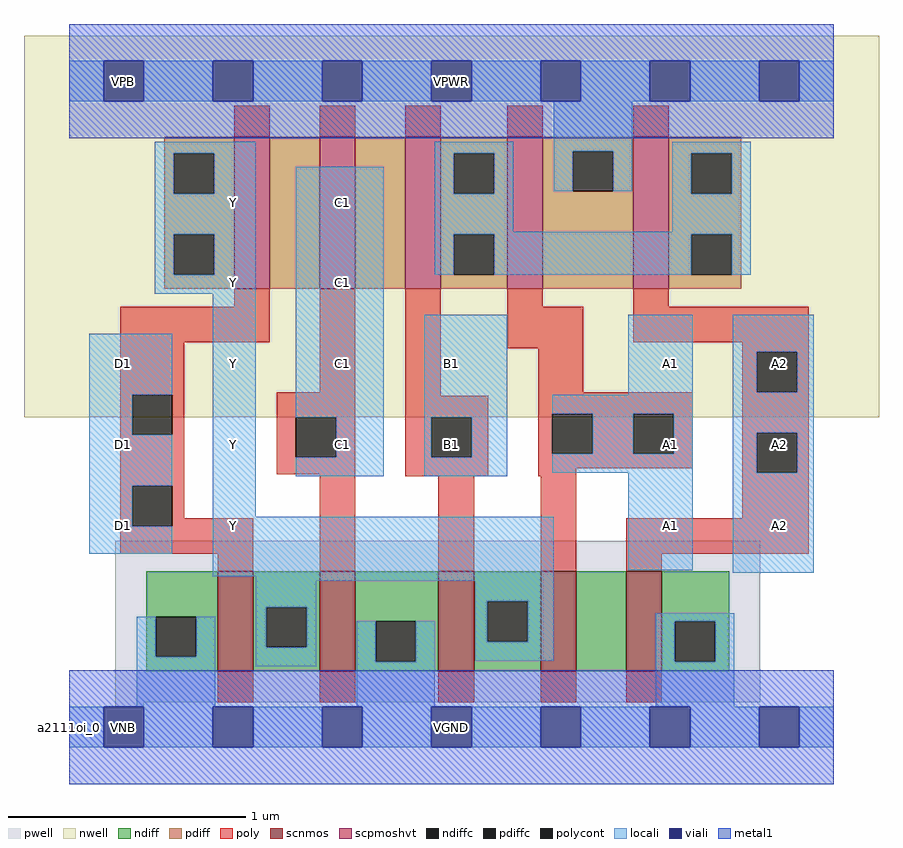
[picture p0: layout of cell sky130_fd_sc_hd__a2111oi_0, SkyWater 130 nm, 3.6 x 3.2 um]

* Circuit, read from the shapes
.subckt sky130_fd_sc_hd__a2111oi_0 A1 A2 B1 C1 D1 VGND VNB VPB VPWR Y
XM1 Y D1 VGND VNB sky130_fd_pr__nfet_01v8 w=0.42 l=0.15
XM2 VGND C1 Y VNB sky130_fd_pr__nfet_01v8 w=0.42 l=0.15
XM3 Y B1 VGND VNB sky130_fd_pr__nfet_01v8 w=0.42 l=0.15
XM4 n1 A1 Y VNB sky130_fd_pr__nfet_01v8 w=0.42 l=0.15
XM5 VGND A2 n1 VNB sky130_fd_pr__nfet_01v8 w=0.42 l=0.15
XM6 n2 D1 Y VPB sky130_fd_pr__pfet_01v8_hvt w=0.64 l=0.15
XM7 n3 C1 n2 VPB sky130_fd_pr__pfet_01v8_hvt w=0.64 l=0.15
XM8 n4 B1 n3 VPB sky130_fd_pr__pfet_01v8_hvt w=0.64 l=0.15
XM9 VPWR A1 n4 VPB sky130_fd_pr__pfet_01v8_hvt w=0.64 l=0.15
XM10 n4 A2 VPWR VPB sky130_fd_pr__pfet_01v8_hvt w=0.64 l=0.15
.ends

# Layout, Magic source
magic
tech sky130A
magscale 1 2
<< nwell >>
rect -38 261 682 582
<< pwell >>
rect 39 21 582 157
rect 39 17 63 21
rect 29 -17 63 17
<< scnmos >>
rect 125 47 155 131
rect 211 47 241 131
rect 311 47 341 131
rect 397 47 427 131
rect 469 47 499 131
<< scpmoshvt >>
rect 139 369 169 497
rect 211 369 241 497
rect 283 369 313 497
rect 369 369 399 497
rect 475 369 505 497
<< ndiff >>
rect 65 93 125 131
rect 65 59 73 93
rect 107 59 125 93
rect 65 47 125 59
rect 155 101 211 131
rect 155 67 166 101
rect 200 67 211 101
rect 155 47 211 67
rect 241 89 311 131
rect 241 55 258 89
rect 292 55 311 89
rect 241 47 311 55
rect 341 106 397 131
rect 341 72 352 106
rect 386 72 397 106
rect 341 47 397 72
rect 427 47 469 131
rect 499 89 556 131
rect 499 55 510 89
rect 544 55 556 89
rect 499 47 556 55
<< pdiff >>
rect 80 483 139 497
rect 80 449 88 483
rect 122 449 139 483
rect 80 415 139 449
rect 80 381 88 415
rect 122 381 139 415
rect 80 369 139 381
rect 169 369 211 497
rect 241 369 283 497
rect 313 483 369 497
rect 313 449 324 483
rect 358 449 369 483
rect 313 415 369 449
rect 313 381 324 415
rect 358 381 369 415
rect 313 369 369 381
rect 399 485 475 497
rect 399 451 424 485
rect 458 451 475 485
rect 399 369 475 451
rect 505 483 566 497
rect 505 449 524 483
rect 558 449 566 483
rect 505 415 566 449
rect 505 381 524 415
rect 558 381 566 415
rect 505 369 566 381
<< ndiffc >>
rect 73 59 107 93
rect 166 67 200 101
rect 258 55 292 89
rect 352 72 386 106
rect 510 55 544 89
<< pdiffc >>
rect 88 449 122 483
rect 88 381 122 415
rect 324 449 358 483
rect 324 381 358 415
rect 424 451 458 485
rect 524 449 558 483
rect 524 381 558 415
<< poly >>
rect 139 497 169 523
rect 211 497 241 523
rect 283 497 313 523
rect 369 497 399 523
rect 475 497 505 523
rect 139 354 169 369
rect 43 324 169 354
rect 43 280 97 324
rect 211 282 241 369
rect 43 246 53 280
rect 87 246 97 280
rect 43 203 97 246
rect 175 261 241 282
rect 175 227 191 261
rect 225 227 241 261
rect 175 213 241 227
rect 43 169 53 203
rect 87 176 97 203
rect 87 169 155 176
rect 43 146 155 169
rect 125 131 155 146
rect 211 131 241 213
rect 283 279 313 369
rect 369 354 399 369
rect 475 354 505 369
rect 369 319 433 354
rect 475 324 623 354
rect 395 282 433 319
rect 567 316 623 324
rect 567 282 579 316
rect 613 282 623 316
rect 283 261 353 279
rect 283 227 305 261
rect 339 227 353 261
rect 283 211 353 227
rect 395 264 525 282
rect 395 230 407 264
rect 441 230 475 264
rect 509 230 525 264
rect 395 218 525 230
rect 567 248 623 282
rect 395 211 427 218
rect 311 131 341 211
rect 397 131 427 211
rect 567 214 579 248
rect 613 214 623 248
rect 567 176 623 214
rect 469 146 623 176
rect 469 131 499 146
rect 125 21 155 47
rect 211 21 241 47
rect 311 21 341 47
rect 397 21 427 47
rect 469 21 499 47
<< polycont >>
rect 53 246 87 280
rect 191 227 225 261
rect 53 169 87 203
rect 579 282 613 316
rect 305 227 339 261
rect 407 230 441 264
rect 475 230 509 264
rect 579 214 613 248
<< locali >>
rect 0 527 29 561
rect 63 527 121 561
rect 155 527 213 561
rect 247 527 305 561
rect 339 527 397 561
rect 431 527 489 561
rect 523 527 581 561
rect 615 527 644 561
rect 72 483 157 493
rect 72 449 88 483
rect 122 449 157 483
rect 308 483 374 493
rect 72 415 157 449
rect 72 381 88 415
rect 122 381 157 415
rect 72 365 157 381
rect 17 280 87 331
rect 17 246 53 280
rect 17 203 87 246
rect 17 169 53 203
rect 17 146 87 169
rect 121 177 157 365
rect 191 261 265 472
rect 308 449 324 483
rect 358 449 374 483
rect 408 485 474 527
rect 408 451 424 485
rect 458 451 474 485
rect 508 483 574 493
rect 308 417 374 449
rect 508 449 524 483
rect 558 449 574 483
rect 508 417 574 449
rect 308 415 574 417
rect 308 381 324 415
rect 358 381 524 415
rect 558 381 574 415
rect 225 227 265 261
rect 191 211 265 227
rect 299 261 369 347
rect 471 280 525 347
rect 299 227 305 261
rect 339 227 369 261
rect 299 211 369 227
rect 407 264 525 280
rect 441 230 475 264
rect 509 230 525 264
rect 407 214 525 230
rect 121 127 408 177
rect 471 132 525 214
rect 559 316 627 347
rect 559 282 579 316
rect 613 282 627 316
rect 559 248 627 282
rect 559 214 579 248
rect 613 214 627 248
rect 559 130 627 214
rect 157 123 408 127
rect 157 101 208 123
rect 57 59 73 93
rect 107 59 123 93
rect 57 17 123 59
rect 157 67 166 101
rect 200 67 208 101
rect 342 106 408 123
rect 157 51 208 67
rect 242 55 258 89
rect 292 55 308 89
rect 342 72 352 106
rect 386 72 408 106
rect 342 56 408 72
rect 494 89 560 96
rect 242 17 308 55
rect 494 55 510 89
rect 544 55 560 89
rect 494 17 560 55
rect 0 -17 29 17
rect 63 -17 121 17
rect 155 -17 213 17
rect 247 -17 305 17
rect 339 -17 397 17
rect 431 -17 489 17
rect 523 -17 581 17
rect 615 -17 644 17
<< viali >>
rect 29 527 63 561
rect 121 527 155 561
rect 213 527 247 561
rect 305 527 339 561
rect 397 527 431 561
rect 489 527 523 561
rect 581 527 615 561
rect 29 -17 63 17
rect 121 -17 155 17
rect 213 -17 247 17
rect 305 -17 339 17
rect 397 -17 431 17
rect 489 -17 523 17
rect 581 -17 615 17
<< metal1 >>
rect 0 561 644 592
rect 0 527 29 561
rect 63 527 121 561
rect 155 527 213 561
rect 247 527 305 561
rect 339 527 397 561
rect 431 527 489 561
rect 523 527 581 561
rect 615 527 644 561
rect 0 496 644 527
rect 0 17 644 48
rect 0 -17 29 17
rect 63 -17 121 17
rect 155 -17 213 17
rect 247 -17 305 17
rect 339 -17 397 17
rect 431 -17 489 17
rect 523 -17 581 17
rect 615 -17 644 17
rect 0 -48 644 -17
<< labels >>
flabel locali s 581 153 615 187 0 FreeSans 400 0 0 0 A2
port 2 nsew signal input
flabel locali s 489 221 523 255 0 FreeSans 400 0 0 0 A1
port 1 nsew signal input
flabel locali s 305 289 339 323 0 FreeSans 400 0 0 0 B1
port 3 nsew signal input
flabel locali s 213 221 247 255 0 FreeSans 400 0 0 0 C1
port 4 nsew signal input
flabel locali s 121 425 155 459 0 FreeSans 400 0 0 0 Y
port 10 nsew signal output
flabel locali s 29 289 63 323 0 FreeSans 400 0 0 0 D1
port 5 nsew signal input
flabel locali s 29 221 63 255 0 FreeSans 400 0 0 0 D1
port 5 nsew signal input
flabel locali s 29 153 63 187 0 FreeSans 400 0 0 0 D1
port 5 nsew signal input
flabel locali s 121 357 155 391 0 FreeSans 400 0 0 0 Y
port 10 nsew signal output
flabel locali s 121 289 155 323 0 FreeSans 400 0 0 0 Y
port 10 nsew signal output
flabel locali s 121 221 155 255 0 FreeSans 400 0 0 0 Y
port 10 nsew signal output
flabel locali s 121 153 155 187 0 FreeSans 400 0 0 0 Y
port 10 nsew signal output
flabel locali s 213 289 247 323 0 FreeSans 400 0 0 0 C1
port 4 nsew signal input
flabel locali s 213 357 247 391 0 FreeSans 400 0 0 0 C1
port 4 nsew signal input
flabel locali s 213 425 247 459 0 FreeSans 400 0 0 0 C1
port 4 nsew signal input
flabel locali s 305 221 339 255 0 FreeSans 400 0 0 0 B1
port 3 nsew signal input
flabel locali s 581 221 615 255 0 FreeSans 400 0 0 0 A2
port 2 nsew signal input
flabel locali s 581 289 615 323 0 FreeSans 400 0 0 0 A2
port 2 nsew signal input
flabel locali s 489 153 523 187 0 FreeSans 400 0 0 0 A1
port 1 nsew signal input
flabel locali s 489 289 523 323 0 FreeSans 400 0 0 0 A1
port 1 nsew signal input
flabel pwell s 29 -17 63 17 0 FreeSans 200 0 0 0 VNB
port 7 nsew ground bidirectional
flabel nwell s 29 527 63 561 0 FreeSans 200 0 0 0 VPB
port 8 nsew power bidirectional
flabel metal1 s 29 527 63 561 0 FreeSans 200 0 0 0 VPWR
port 9 nsew power bidirectional abutment
flabel metal1 s 29 -17 63 17 0 FreeSans 200 0 0 0 VGND
port 6 nsew ground bidirectional abutment
rlabel comment s 0 0 0 0 4 a2111oi_0
rlabel metal1 s 0 -48 644 48 1 VGND
port 6 nsew ground bidirectional abutment
rlabel metal1 s 0 496 644 592 1 VPWR
port 9 nsew power bidirectional abutment
<< properties >>
string FIXED_BBOX 0 0 644 544
string GDS_END 3771120
string GDS_FILE $PDKPATH/libs.ref/sky130_fd_sc_hd/gds/sky130_fd_sc_hd.gds
string GDS_START 3763656
string LEFclass CORE
string LEFsite unithd
string LEFsymmetry X Y R90
string path 0.000 13.600 16.100 13.600 
<< end >>
